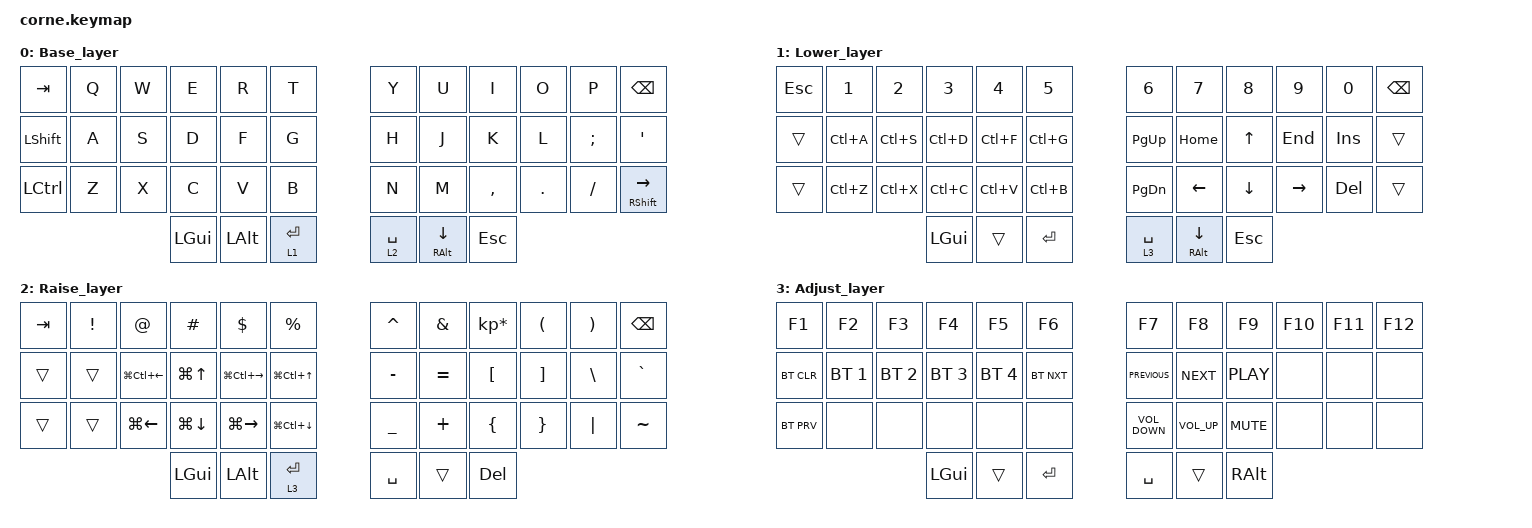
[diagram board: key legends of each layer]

#include <behaviors.dtsi>
#include <dt-bindings/zmk/keys.h>
#include <dt-bindings/zmk/bt.h>

//#define BASE 0
//#define LOWER 1
//#define RAISE 2
//#define ADJUST 3

/ {
  combos {
    compatible = "zmk,combos";

    combo_COMBO_UP {
      timeout-ms = <50>;
      key-positions = <8 9>;
      layers = <0>;
      bindings = <&kp UP>;
    };
    combo_COMBO_DOWN {
      timeout-ms = <50>;
      key-positions = <32 33>;
      layers = <0>;
      bindings = <&kp DOWN>;
    };
    combo_COMBO_LEFT {
      timeout-ms = <50>;
      key-positions = <19 20>;
      layers = <0>;
      bindings = <&kp LEFT>;
    };
    combo_COMBO_RIGHT {
      timeout-ms = <50>;
      key-positions = <20 21>;
      layers = <0>;
      bindings = <&kp RIGHT>;
    };

    combo_COMBO_pgUP {
      timeout-ms = <50>;
      key-positions = <2 3>;
      layers = <0>;
      bindings = <&kp PG_UP>;
    };
    combo_COMBO_pgDOWN {
      timeout-ms = <50>;
      key-positions = <26 27>;
      layers = <0>;
      bindings = <&kp PG_DN>;
    };
    combo_COMBO_HOME {
      timeout-ms = <50>;
      key-positions = <14 15>;
      layers = <0>;
      bindings = <&kp HOME>;
    };
    combo_COMBO_END {
      timeout-ms = <50>;
      key-positions = <15 16>;
      layers = <0>;
      bindings = <&kp END>;
    };
  };

  keymap {
    compatible = "zmk,keymap";

    Base_layer {
      bindings = <
       &kp TAB   &kp Q &kp W &kp E &kp R &kp T   &kp Y &kp U  &kp I     &kp O   &kp P    &kp BSPC
       &kp LSHFT &kp A &kp S &kp D &kp F &kp G   &kp H &kp J  &kp K     &kp L   &kp SEMI &kp SQT
       &kp LCTRL &kp Z &kp X &kp C &kp V &kp B   &kp N &kp M  &kp COMMA &kp DOT &kp FSLH &mt RSHIFT RIGHT
                   &kp LGUI &kp LALT &lt 1 RET   &lt 2 SPACE &mt RALT DOWN &kp ESCAPE
      >;
    };

    Lower_layer {
      bindings = <
       &kp ESCAPE    &kp N1  &kp N2  &kp N3  &kp N4  &kp N5                             &kp N6  &kp N7  &kp N8 &kp N9  &kp N0 &kp BSPC
       &trans &kp LC(A) &kp LC(S) &kp LC(D) &kp LC(F) &kp LC(G)                         &kp PG_UP &kp HOME &kp UP_ARROW &kp END &kp INSERT &trans
       &trans &kp LC(Z) &kp LC(X) &kp LC(C) &kp LC(V) &kp LC(B)                         &kp PG_DN &kp LEFT &kp DOWN &kp RIGHT &kp DEL &trans
                                     &kp LGUI  &trans  &kp RET                          &lt 3 SPACE &mt RALT DOWN &kp ESCAPE
      >;
    };

    Raise_layer {
      bindings = <
       &kp  TAB  &kp EXCL &kp AT &kp HASH &kp DLLR &kp PRCNT                            &kp CARET &kp AMPS  &kp KP_MULTIPLY &kp LPAR &kp RPAR &kp BSPC
       &trans &trans &kp LG(LC(LEFT)) &kp LG(UP)   &kp LG(LC(RIGHT)) &kp LG(LC(UP))     &kp MINUS &kp EQUAL &kp LBKT        &kp RBKT &kp BSLH &kp GRAVE
       &trans &trans &kp LG(LEFT)     &kp LG(DOWN) &kp LG(RIGHT)  &kp LG(LC(DOWN))      &kp UNDER &kp PLUS  &kp LBRC  &kp RBRC &kp PIPE &kp TILDE
                             &kp LGUI &kp LALT &lt 3 RET                                &kp SPACE   &trans    &kp DEL
      >;
    };

    Adjust_layer {
      bindings = <
        &kp F1 &kp F2 &kp F3 &kp F4 &kp F5 &kp F6                                     &kp F7 &kp F8 &kp F9 &kp F10 &kp F11 &kp F12
        &bt BT_CLR &bt BT_SEL 1 &bt BT_SEL 2 &bt BT_SEL 3 &bt BT_SEL 4 &bt BT_NXT     &kp C_PREVIOUS &kp C_NEXT &kp C_PLAY &none &none &none
        &bt BT_PRV &none &none &none &none &none                                      &kp C_VOLUME_DOWN &kp C_VOLUME_UP &kp C_MUTE &none &none &none
                     &kp LGUI  &trans  &kp RET                                        &kp SPACE  &trans  &kp RALT
      >;
    };

  };
};

